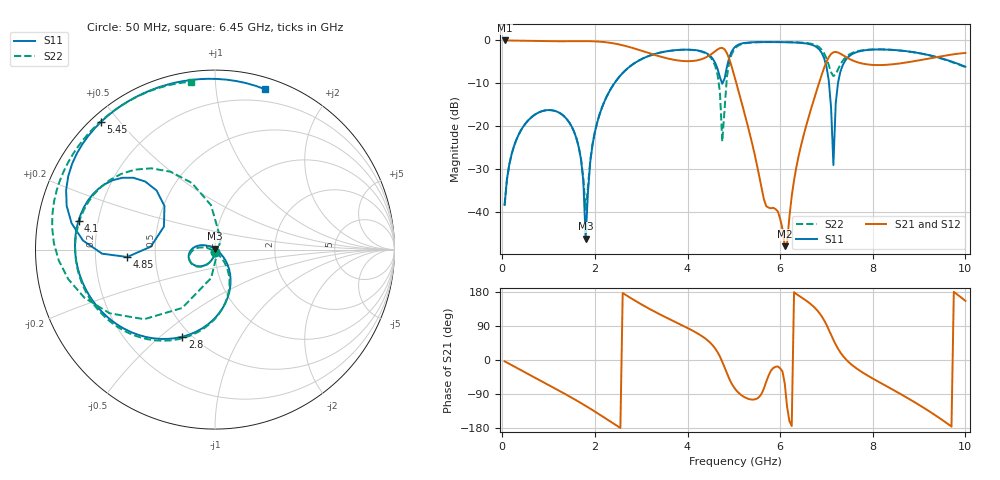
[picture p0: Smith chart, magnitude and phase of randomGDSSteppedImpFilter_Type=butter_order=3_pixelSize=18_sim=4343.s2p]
! freq	dB(S11)	phase(S11)	dB(S12)	phase(S12)
!  dB(S21)	phase(S21)	dB(S22)	phase(S22)
!S-par simulation data
#  GHz  S  DB  R 50
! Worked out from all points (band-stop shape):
!   200 points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, 50 MHz to 10 GHz, reference 50 ohm
!   highest |S21| = -0.01 dB at 50 MHz (marker M1); lowest = -48.0 dB at 6.1 GHz (marker M2)
!   |S21| within 3 dB of the highest: start of sweep to 3.182 GHz; 4.538 GHz to 4.852 GHz (313.8 MHz wide, 6.68 % of centre) (the widest 2 of 4)
!   lowest |S11| = -46.2 dB at 1.8 GHz (marker M3), VSWR 1.01, Z = 49.9 + j0.477 ohm
!   |S11| at or under -10 dB: start of sweep to 2.421 GHz; 4.74619 GHz to 4.754863 GHz (8.673 MHz wide, 0.183 % of centre); 7.055 GHz to 7.248 GHz (193.5 MHz wide, 2.71 % of centre)
!   |S22| runs from -39.5 to -0.4 dB; largest |S21 - S12| = 0
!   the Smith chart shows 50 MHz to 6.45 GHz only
!   S11 on the Smith chart (normalised r, x): 50 MHz: 1.00, -0.02; 2.8 GHz: 0.45, -0.60; 4.1 GHz: 0.13, +0.10; 4.85 GHz: 0.34, -0.04; 5.45 GHz: 0.03, +0.45; 6.45 GHz: 0.09, +1.35
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0.05  -38.37 -92.9  -0.01 -3.4  -0.01 -3.4  -38.39 -93.0
0.85  -16.52 -147.6  -0.17 -56.1  -0.17 -56.1  -16.52 -145.3
1.75  -32.78 144.2  -0.16 -117.4  -0.16 -117.4  -32.18 175.6
1.8  -46.21 102.3  -0.16 -121.0  -0.16 -121.0  -39.47 -139.9
2.05  -19.13 -50.4  -0.25 -140.0  -0.25 -140.0  -19.06 -55.6
2.8  -5.71 -110.5  -1.71 161.5  -1.71 161.5  -5.71 -109.0
3.4  -2.86 -151.3  -3.72 120.6  -3.72 120.6  -2.86 -148.7
4.1  -2.19 168.0  -4.81 78.1  -4.81 78.1  -2.22 169.6
4.6  -5.30 135.7  -2.50 29.9  -2.50 29.9  -6.03 119.7
4.75  -10.12 155.8  -1.74 -4.5  -1.74 -4.5  -23.57 61.4
4.85  -6.18 -175.2  -2.95 -35.0  -2.95 -35.0  -8.56 -119.4
5.05  -1.29 163.6  -9.80 -79.7  -9.80 -79.7  -1.58 -168.6
5.45  -0.41 131.7  -26.59 -104.1  -26.59 -104.1  -0.45 152.5
6.1  -0.41 95.1  -47.98 -62.9  -47.98 -62.9  -0.39 117.2
6.45  -0.57 72.8  -24.56 165.9  -24.56 165.9  -0.49 98.1
6.7  -1.08 50.7  -14.80 143.4  -14.80 143.4  -0.85 81.1
7  -6.09 1.3  -5.01 93.0  -5.01 93.0  -4.18 53.9
7.15  -29.08 79.8  -2.76 53.2  -2.76 53.2  -8.34 70.2
7.2  -14.64 119.4  -2.68 40.8  -2.68 40.8  -7.88 81.8
7.35  -5.80 94.7  -3.41 11.6  -3.41 11.6  -4.75 87.6
8.35  -2.17 11.0  -5.64 -72.7  -5.64 -72.7  -2.14 25.6
10  -6.11 -114.9  -2.93 156.1  -2.93 156.1  -6.21 -110.3
